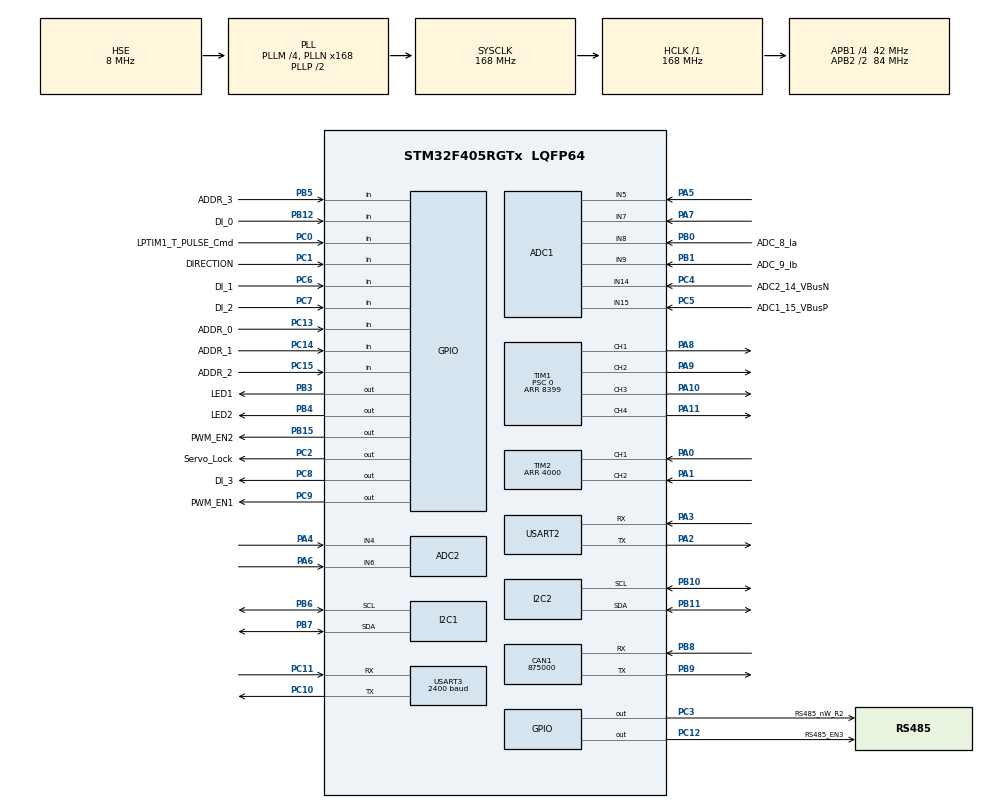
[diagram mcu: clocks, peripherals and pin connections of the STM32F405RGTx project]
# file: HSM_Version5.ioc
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ADC1.Channel-0\#ChannelRegularConversion=ADC_CHANNEL_8
ADC1.Channel-2\#ChannelRegularConversion=ADC_CHANNEL_9
ADC1.ClockPrescaler=ADC_CLOCK_SYNC_PCLK_DIV4
ADC1.ContinuousConvMode=DISABLE
ADC1.EOCSelection=ADC_EOC_SEQ_CONV
ADC1.InjNumberOfConversion=0
ADC1.NbrOfConversion=2
ADC1.NbrOfConversionFlag=1
ADC1.Rank-0\#ChannelRegularConversion=1
ADC1.Rank-2\#ChannelRegularConversion=2
ADC1.SamplingTime-0\#ChannelRegularConversion=ADC_SAMPLETIME_3CYCLES
ADC1.SamplingTime-2\#ChannelRegularConversion=ADC_SAMPLETIME_3CYCLES
ADC1.ScanConvMode=ENABLE
ADC1.master=1
ADC2.Channel-0\#ChannelRegularConversion=ADC_CHANNEL_6
ADC2.ClockPrescaler=ADC_CLOCK_SYNC_PCLK_DIV4
ADC2.NbrOfConversionFlag=1
ADC2.Rank-0\#ChannelRegularConversion=1
ADC2.SamplingTime-0\#ChannelRegularConversion=ADC_SAMPLETIME_3CYCLES
CAN1.BS1=CAN_BS1_1TQ
CAN1.BS2=CAN_BS2_1TQ
CAN1.CalculateBaudRate=875000
CAN1.CalculateTimeBit=1142
CAN1.CalculateTimeQuantum=380.95238095238096
Dma.ADC1.0.Direction=DMA_PERIPH_TO_MEMORY
Dma.ADC1.0.FIFOMode=DMA_FIFOMODE_DISABLE
Dma.ADC1.0.Instance=DMA2_Stream0
Dma.ADC1.0.MemDataAlignment=DMA_MDATAALIGN_HALFWORD
Dma.ADC1.0.MemInc=DMA_MINC_ENABLE
Dma.ADC1.0.Mode=DMA_NORMAL
Dma.ADC1.0.PeriphDataAlignment=DMA_PDATAALIGN_HALFWORD
Dma.ADC1.0.PeriphInc=DMA_PINC_DISABLE
Dma.ADC1.0.Priority=DMA_PRIORITY_VERY_HIGH
Dma.Request0=ADC1
Mcu.Family=STM32F4
Mcu.Name=STM32F405RGTx
Mcu.Package=LQFP64
NVIC.DMA2_Stream0_IRQn=true\:0\:0\:false\:false\:true\:false\:true\:true
NVIC.PriorityGroup=NVIC_PRIORITYGROUP_4
NVIC.TIM1_UP_TIM10_IRQn=true\:1\:0\:true\:false\:true\:true\:true\:true
NVIC.TIM3_IRQn=true\:2\:0\:true\:false\:true\:true\:true\:true
PA0-WKUP.Signal=S_TIM2_CH1_ETR
PA1.Signal=S_TIM2_CH2
PA10.Signal=S_TIM1_CH3
PA11.Signal=S_TIM1_CH4
PA13.Mode=Serial_Wire
PA13.Signal=SYS_JTMS-SWDIO
PA14.Mode=Serial_Wire
PA14.Signal=SYS_JTCK-SWCLK
PA2.Mode=Asynchronous
PA2.Signal=USART2_TX
PA3.Mode=Asynchronous
PA3.Signal=USART2_RX
PA4.Signal=ADCx_IN4
PA5.Signal=ADCx_IN5
PA6.Signal=ADCx_IN6
PA7.Signal=ADCx_IN7
PA8.Signal=S_TIM1_CH1
PA9.Signal=S_TIM1_CH2
PB0.GPIO_Label=ADC_8_Ia
PB0.Signal=ADCx_IN8
PB1.GPIO_Label=ADC_9_Ib
PB1.Signal=ADCx_IN9
PB10.Mode=I2C
PB10.Signal=I2C2_SCL
PB11.Mode=I2C
PB11.Signal=I2C2_SDA
PB12.GPIO_Label=DI_0
PB12.GPIO_PuPd=GPIO_NOPULL
PB12.Signal=GPIO_Input
PB15.GPIO_Label=PWM_EN2
PB15.Signal=GPIO_Output
PB3.GPIO_Label=LED1
PB3.Signal=GPIO_Output
PB4.GPIO_Label=LED2
PB4.Signal=GPIO_Output
PB5.GPIO_Label=ADDR_3
PB5.Signal=GPIO_Input
PB6.Mode=I2C
PB6.Signal=I2C1_SCL
PB7.Mode=I2C
PB7.Signal=I2C1_SDA
PB8.Mode=CAN_Activate
PB8.Signal=CAN1_RX
PB9.Mode=CAN_Activate
PB9.Signal=CAN1_TX
PC0.GPIO_Label=LPTIM1_T_PULSE_Cmd
PC0.Signal=GPIO_Input
PC1.GPIO_Label=DIRECTION
PC1.Signal=GPIO_Input
PC10.Mode=Asynchronous
PC10.Signal=USART3_TX
PC11.Mode=Asynchronous
PC11.Signal=USART3_RX
PC12.GPIO_Label=RS485_EN3
PC12.Signal=GPIO_Output
PC13-ANTI_TAMP.GPIO_Label=ADDR_0
PC13-ANTI_TAMP.GPIO_PuPd=GPIO_PULLUP
PC13-ANTI_TAMP.Signal=GPIO_Input
PC14-OSC32_IN.GPIO_Label=ADDR_1
PC14-OSC32_IN.GPIO_PuPd=GPIO_PULLUP
PC14-OSC32_IN.Signal=GPIO_Input
PC15-OSC32_OUT.GPIO_Label=ADDR_2
PC15-OSC32_OUT.Signal=GPIO_Input
PC2.GPIO_Label=Servo_Lock
PC2.Signal=GPIO_Output
PC3.GPIO_Label=RS485_nW_R2
PC3.Signal=GPIO_Output
PC4.GPIO_Label=ADC2_14_VBusN
PC4.Signal=ADCx_IN14
PC5.GPIO_Label=ADC1_15_VBusP
PC5.Signal=ADCx_IN15
PC6.GPIO_Label=DI_1
PC6.GPIO_PuPd=GPIO_NOPULL
PC6.Signal=GPIO_Input
PC7.GPIO_Label=DI_2
PC7.Signal=GPIO_Input
PC8.GPIO_Label=DI_3
PC8.Signal=GPIO_Output
PC9.GPIO_Label=PWM_EN1
PC9.Signal=GPIO_Output
PH0-OSC_IN.Mode=HSE-External-Oscillator
PH0-OSC_IN.Signal=RCC_OSC_IN
PH1-OSC_OUT.Mode=HSE-External-Oscillator
PH1-OSC_OUT.Signal=RCC_OSC_OUT
ProjectManager.HeapSize=0x200
ProjectManager.StackSize=0x400
ProjectManager.TargetToolchain=MDK-ARM V5.32
RCC.48MHZClocksFreq_Value=84000000
RCC.AHBFreq_Value=168000000
RCC.APB1CLKDivider=RCC_HCLK_DIV4
RCC.APB1Freq_Value=42000000
RCC.APB1TimFreq_Value=84000000
RCC.APB2CLKDivider=RCC_HCLK_DIV2
RCC.APB2Freq_Value=84000000
RCC.APB2TimFreq_Value=168000000
RCC.CortexFreq_Value=168000000
RCC.HCLKFreq_Value=168000000
RCC.HSE_VALUE=8000000
RCC.HSI_VALUE=16000000
RCC.LSE_VALUE=32768
RCC.PLLM=4
RCC.PLLN=168
RCC.PLLSourceVirtual=RCC_PLLSOURCE_HSE
RCC.SYSCLKFreq_VALUE=168000000
RCC.SYSCLKSource=RCC_SYSCLKSOURCE_PLLCLK
RCC.VCOOutputFreq_Value=336000000
SH.ADCx_IN14.0=ADC1_IN14,IN14
SH.ADCx_IN15.0=ADC1_IN15,IN15
SH.ADCx_IN4.0=ADC2_IN4,IN4
SH.ADCx_IN5.0=ADC1_IN5,IN5
SH.ADCx_IN6.0=ADC2_IN6,IN6
SH.ADCx_IN7.0=ADC1_IN7,IN7
SH.ADCx_IN8.0=ADC1_IN8,IN8
SH.ADCx_IN9.0=ADC1_IN9,IN9
SH.S_TIM1_CH1.0=TIM1_CH1,PWM Generation1 CH1
SH.S_TIM1_CH2.0=TIM1_CH2,PWM Generation2 CH2
SH.S_TIM1_CH3.0=TIM1_CH3,PWM Generation3 CH3
SH.S_TIM1_CH4.0=TIM1_CH4,PWM Generation4 CH4
SH.S_TIM2_CH1_ETR.0=TIM2_CH1,Encoder_Interface
SH.S_TIM2_CH2.0=TIM2_CH2,Encoder_Interface
TIM1.AutoReloadPreload=TIM_AUTORELOAD_PRELOAD_ENABLE
TIM1.Channel-PWM\ Generation1\ CH1=TIM_CHANNEL_1
TIM1.Channel-PWM\ Generation2\ CH2=TIM_CHANNEL_2
TIM1.Channel-PWM\ Generation3\ CH3=TIM_CHANNEL_3
TIM1.Channel-PWM\ Generation4\ CH4=TIM_CHANNEL_4
TIM1.CounterMode=TIM_COUNTERMODE_UP
TIM1.Period=8399
TIM1.Prescaler=0
TIM1.RepetitionCounter=0
TIM2.EncoderMode=TIM_ENCODERMODE_TI12
TIM2.IC1Filter=10
TIM2.IC2Filter=10
TIM2.Period=4000
TIM3.Period=83
TIM3.Prescaler=0
TIM5.Prescaler=83
USART2.VirtualMode=VM_ASYNC
USART3.BaudRate=2400
USART3.VirtualMode=VM_ASYNC
VP_TIM1_VS_ClockSourceINT.Mode=Internal
VP_TIM3_VS_ClockSourceINT.Mode=Internal
VP_TIM5_VS_ClockSourceINT.Mode=Internal
board=custom

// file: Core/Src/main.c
/* USER CODE BEGIN Header */
/**
  ******************************************************************************
  * @file           : main.c
  * @brief          : Main program body
  ******************************************************************************
  * @attention
  *
  * Copyright (c) 2023 STMicroelectronics.
  * All rights reserved.
  *
  * This software is licensed under terms that can be found in the LICENSE file
  * in the root directory of this software component.
  * If no LICENSE file comes with this software, it is provided AS-IS.
  *
  ******************************************************************************
  */
/* USER CODE END Header */
#include "main.h"
#include <math.h>

ADC_HandleTypeDef hadc1;
ADC_HandleTypeDef hadc2;
DMA_HandleTypeDef hdma_adc1;

CAN_HandleTypeDef hcan1;

I2C_HandleTypeDef hi2c1;
I2C_HandleTypeDef hi2c2;

TIM_HandleTypeDef htim1;
TIM_HandleTypeDef htim2;
TIM_HandleTypeDef htim3;
TIM_HandleTypeDef htim5;

UART_HandleTypeDef huart2;
UART_HandleTypeDef huart3;

void SystemClock_Config(void);
static void MX_GPIO_Init(void);
static void MX_DMA_Init(void);
static void MX_ADC1_Init(void);
static void MX_ADC2_Init(void);
static void MX_CAN1_Init(void);
static void MX_I2C1_Init(void);
static void MX_I2C2_Init(void);
static void MX_TIM1_Init(void);
static void MX_TIM2_Init(void);
static void MX_USART3_UART_Init(void);
static void MX_TIM3_Init(void);
static void MX_TIM5_Init(void);
static void MX_USART2_UART_Init(void);

/* USER CODE BEGIN 0 */
		HSM hsm_var; 							// hybrid stepper motor variable
		StateMachine mState_var;		// state of machine

		ENCODER_OBJECT encoder_var, theta_var;
		PI_OBJECT PI_Id_var, PI_Iq_var, PI_speed_var, P_position_var;
		ADC_OBJECT adc_var;

		FLAG flag_var;
		CONTROL_OBJECT control_var;
		LPF LPF_speed_var, LPF_current_var, LPF_voltage_var;
		LPF LPF_Ia, LPF_Ib;
		LPF LPF_rpm_est;
		UART uart_var;
		RAMP ramp_rpm_var;

		SMC SMC_var;
		LPF LPF_EMFa, LPF_EMFb;
		SVPWM svpwm_var;

			double ts_rpm = 5e-3;

		void HAL_TIM_PeriodElapsedCallback(TIM_HandleTypeDef *htim)
		{
			/* Prevent unused argument(s) compilation warning */
			UNUSED(htim);
			/*USER CODE*/

				if(htim->Instance == htim1.Instance)
				{
					if(mState_var.mSTATE == mRUN && mState_var.mCONTROL_MODE == SMC_MODE)
					{
						flag_var.flag_50us_5ms++;
						if(flag_var.flag_50us_5ms >= 100)  // every5ms
						{
							flag_var.flag_50us_5ms = 0;
							CAL_SPEED(&encoder_var);
							Est_Speed(&SMC_var, 70);

							if(SMC_var.flag_trans == 1){

								SMC_var.Kps = 0.9f*6.0f/70.0f;
								//SMC_var.Kps = 0.6f*6.0f/140.0f;
								SMC_var.Tis = 0.0008f;

								//if(fabs((float)(encoder_var.rpm_fb)) >= 95){
								if(fabs((float)(SMC_var.rpm_fb_est)) >= 80){
									LPF_Init(&LPF_EMFa, 80, 50e-6);
									LPF_Init(&LPF_EMFb, 80, 50e-6);
									//if(fabs((float)(encoder_var.rpm_fb)) >= 110){
									if(fabs((float)(SMC_var.rpm_fb_est)) >= 105){
										LPF_Init(&LPF_EMFa, 100, 50e-6);
										LPF_Init(&LPF_EMFb, 100, 50e-6);
										SMC_var.Kps = 0.5f*6.0f/70.0f;
										SMC_var.Tis = 0.0015f;
									}
									if(fabs((float)(SMC_var.rpm_fb_est)) >= 130){
										LPF_Init(&LPF_EMFa, 200, 50e-6);
										LPF_Init(&LPF_EMFb, 200, 50e-6);

									}
									if(fabs((float)(SMC_var.rpm_fb_est)) >= 140){
										LPF_Init(&LPF_EMFa, 250, 50e-6);
										LPF_Init(&LPF_EMFb, 250, 50e-6);

									}
								}

								SMC_var.Iq_ref = Speed_SMC_Loop(&SMC_var, 100);
							}
						}
					}

					flag_var.flag_50us++;
					//if(flag_var.flag_50us >= 4)
							CAL_CURRENT(&adc_var);

					STATE_MACHINE_HANDLE();

					//flag_var.cnt_s++;
//					if(flag_var.cnt_s < 40000){
//						flag_var.cnt_s++;
//						flag_var.second = 0;
//					}
//					else
//						flag_var.second = 1;
//
//					if(flag_var.second == 1)
//					{
//						flag_var.cnt_data++;
//						if(flag_var.cnt_data >= 3)
//						{
//							SAVE_DATA(GET_C_DATA);
//							flag_var.cnt_data = 0;
//						}
//					}

					//flag_var.flag_50us_1ms++;
//					if(flag_var.flag_50us_1ms >= 6)
//					{
//						flag_var.flag_50us_1ms = 0;
//						SAVE_DATA(GET_C_DATA);
//					}

//					if(flag_var.flag_1ms < 30000)
//						flag_var.flag_1ms++;
//					else
//						mState_var.mCONTROL_MODE = CLOSE_LOOP_SPD;

//					if(flag_var.flag_1ms < 65500)
//						flag_var.flag_1ms++;
//					else
//						SAVE_DATA(GET_C_DATA);
				}

		}

/* USER CODE END 0 */

int main(void)
{

  /* MCU Configuration--------------------------------------------------------*/

  /* Reset of all peripherals, Initializes the Flash interface and the Systick. */
  HAL_Init();

  /* Configure the system clock */
  SystemClock_Config();

  /* Initialize all configured peripherals */
  MX_GPIO_Init();
  MX_DMA_Init();
  MX_ADC1_Init();
  MX_ADC2_Init();
  MX_CAN1_Init();
  MX_I2C1_Init();
  MX_I2C2_Init();
  MX_TIM1_Init();
  MX_TIM2_Init();
  MX_USART3_UART_Init();
  MX_TIM3_Init();
  MX_TIM5_Init();
  MX_USART2_UART_Init();
  /* USER CODE BEGIN 2 */
			HAL_GPIO_WritePin(LED1_GPIO_Port, LED1_Pin, GPIO_PIN_SET);
			HAL_GPIO_WritePin(LED2_GPIO_Port, LED2_Pin, GPIO_PIN_SET);
			Motor_Disable();
		// BAT CHE DO PHAT XUNG PWM 2 KENH
			HAL_TIM_PWM_Start(&htim1, TIM_CHANNEL_1);
			HAL_TIM_PWM_Start(&htim1, TIM_CHANNEL_2);
			HAL_TIM_PWM_Start(&htim1, TIM_CHANNEL_3);
			HAL_TIM_PWM_Start(&htim1, TIM_CHANNEL_4);
		//Start ADC
			HAL_ADC_Start(&hadc1);
			ADC_Init(&adc_var);

		// Config Timer
			HAL_TIM_Base_Start_IT(&htim1); 			// PWM & control loop
			//HAL_TIM_Base_Start_IT(&htim3);
			HAL_TIM_Base_Start(&htim5); 		 		//	counter timer - delay timer (not used yet)
			HAL_TIM_Encoder_Start(&htim2, TIM_CHANNEL_ALL);			// Encoder on htim 2

		//Init Function
			MOTOR_Init(&hsm_var);
			FLAG_Init(&flag_var);

			ENCODER_Init(&encoder_var, 1000, 4, ts_rpm);			// use for cal the speed
			ENCODER_Init(&theta_var, 1000, 4, NULL);		// use for count the received pulse, then cal the theta mechanical (rad)

			//Est_Init(&SMC_var);
			SMC_Init(&SMC_var);

			CONTROLLER_Init(&control_var, 50e-6);			/*CONTROLLER_Init(control var, Ts);*/

			LPF_Init(&LPF_current_var, 2000, 50e-6);
			LPF_Init(&LPF_Ia, 2000, 50e-6);
			LPF_Init(&LPF_Ib, 2000, 50e-6);

			LPF_Init(&LPF_speed_var, (uint16_t)(1/(ts_rpm*120)), ts_rpm);
			LPF_Init(&LPF_rpm_est, (uint16_t)(1/(ts_rpm*120)), ts_rpm);
			LPF_Init(&LPF_voltage_var, 2000, 50e-6);

			LPF_Init(&LPF_EMFa, 50, 50e-6);
			LPF_Init(&LPF_EMFb, 50, 50e-6);

			PI_CURRENT_Init(&PI_Id_var, 50e-6);
			PI_CURRENT_Init(&PI_Iq_var, 50e-6);
			PI_SPEED_Init(&PI_speed_var, ts_rpm);

			UART_Init(&uart_var);
			RAMP_Init(&ramp_rpm_var, 1, 1, -100, 100, ts_rpm);

			STATE_MACHINE_Init(OPENLOOP);

			//STATE_MACHINE_Init(CLOSE_LOOP_I);

			//STATE_MACHINE_Init(CLOSE_LOOP_SPD);

			STATE_MACHINE_Init(SMC_MODE);

			Motor_Enable();
  /* USER CODE END 2 */

  /* Infinite loop */
  while (1)
  {

    /* USER CODE BEGIN 3 */
//		HAL_GPIO_TogglePin(LED1_GPIO_Port, LED1_Pin);
//		HAL_GPIO_TogglePin(LED2_GPIO_Port, LED2_Pin);
//		HAL_Delay(100);

		SEND_DATA();

		//run_fullstep(9, 9, 10);
		//fullstep(24,-24);
  }
  /* USER CODE END 3 */
}

void SystemClock_Config(void)
{
  RCC_OscInitTypeDef RCC_OscInitStruct = {0};
  RCC_ClkInitTypeDef RCC_ClkInitStruct = {0};

  /** Configure the main internal regulator output voltage
  */
  __HAL_RCC_PWR_CLK_ENABLE();
  __HAL_PWR_VOLTAGESCALING_CONFIG(PWR_REGULATOR_VOLTAGE_SCALE1);

  /** Initializes the RCC Oscillators according to the specified parameters
  * in the RCC_OscInitTypeDef structure.
  */
  RCC_OscInitStruct.OscillatorType = RCC_OSCILLATORTYPE_HSE;
  RCC_OscInitStruct.HSEState = RCC_HSE_ON;
  RCC_OscInitStruct.PLL.PLLState = RCC_PLL_ON;
  RCC_OscInitStruct.PLL.PLLSource = RCC_PLLSOURCE_HSE;
  RCC_OscInitStruct.PLL.PLLM = 4;
  RCC_OscInitStruct.PLL.PLLN = 168;
  RCC_OscInitStruct.PLL.PLLP = RCC_PLLP_DIV2;
  RCC_OscInitStruct.PLL.PLLQ = 4;
  if (HAL_RCC_OscConfig(&RCC_OscInitStruct) != HAL_OK)
  {
    Error_Handler();
  }

  /** Initializes the CPU, AHB and APB buses clocks
  */
  RCC_ClkInitStruct.ClockType = RCC_CLOCKTYPE_HCLK|RCC_CLOCKTYPE_SYSCLK
                              |RCC_CLOCKTYPE_PCLK1|RCC_CLOCKTYPE_PCLK2;
  RCC_ClkInitStruct.SYSCLKSource = RCC_SYSCLKSOURCE_PLLCLK;
  RCC_ClkInitStruct.AHBCLKDivider = RCC_SYSCLK_DIV1;
  RCC_ClkInitStruct.APB1CLKDivider = RCC_HCLK_DIV4;
  RCC_ClkInitStruct.APB2CLKDivider = RCC_HCLK_DIV2;

  if (HAL_RCC_ClockConfig(&RCC_ClkInitStruct, FLASH_LATENCY_5) != HAL_OK)
  {
    Error_Handler();
  }
}

static void MX_ADC1_Init(void)
{

  ADC_ChannelConfTypeDef sConfig = {0};

  /** Configure the global features of the ADC (Clock, Resolution, Data Alignment and number of conversion)
  */
  hadc1.Instance = ADC1;
  hadc1.Init.ClockPrescaler = ADC_CLOCK_SYNC_PCLK_DIV4;
  hadc1.Init.Resolution = ADC_RESOLUTION_12B;
  hadc1.Init.ScanConvMode = ENABLE;
  hadc1.Init.ContinuousConvMode = DISABLE;
  hadc1.Init.DiscontinuousConvMode = DISABLE;
  hadc1.Init.ExternalTrigConvEdge = ADC_EXTERNALTRIGCONVEDGE_NONE;
  hadc1.Init.ExternalTrigConv = ADC_SOFTWARE_START;
  hadc1.Init.DataAlign = ADC_DATAALIGN_RIGHT;
  hadc1.Init.NbrOfConversion = 2;
  hadc1.Init.DMAContinuousRequests = DISABLE;
  hadc1.Init.EOCSelection = ADC_EOC_SEQ_CONV;
  if (HAL_ADC_Init(&hadc1) != HAL_OK)
  {
    Error_Handler();
  }

  /** Configure for the selected ADC regular channel its corresponding rank in the sequencer and its sample time.
  */
  sConfig.Channel = ADC_CHANNEL_8;
  sConfig.Rank = 1;
  sConfig.SamplingTime = ADC_SAMPLETIME_3CYCLES;
  if (HAL_ADC_ConfigChannel(&hadc1, &sConfig) != HAL_OK)
  {
    Error_Handler();
  }

  /** Configure for the selected ADC regular channel its corresponding rank in the sequencer and its sample time.
  */
  sConfig.Channel = ADC_CHANNEL_9;
  sConfig.Rank = 2;
  if (HAL_ADC_ConfigChannel(&hadc1, &sConfig) != HAL_OK)
  {
    Error_Handler();
  }

}

static void MX_ADC2_Init(void)
{

  ADC_ChannelConfTypeDef sConfig = {0};

  /** Configure the global features of the ADC (Clock, Resolution, Data Alignment and number of conversion)
  */
  hadc2.Instance = ADC2;
  hadc2.Init.ClockPrescaler = ADC_CLOCK_SYNC_PCLK_DIV4;
  hadc2.Init.Resolution = ADC_RESOLUTION_12B;
  hadc2.Init.ScanConvMode = DISABLE;
  hadc2.Init.ContinuousConvMode = DISABLE;
  hadc2.Init.DiscontinuousConvMode = DISABLE;
  hadc2.Init.ExternalTrigConvEdge = ADC_EXTERNALTRIGCONVEDGE_NONE;
  hadc2.Init.ExternalTrigConv = ADC_SOFTWARE_START;
  hadc2.Init.DataAlign = ADC_DATAALIGN_RIGHT;
  hadc2.Init.NbrOfConversion = 1;
  hadc2.Init.DMAContinuousRequests = DISABLE;
  hadc2.Init.EOCSelection = ADC_EOC_SINGLE_CONV;
  if (HAL_ADC_Init(&hadc2) != HAL_OK)
  {
    Error_Handler();
  }

  /** Configure for the selected ADC regular channel its corresponding rank in the sequencer and its sample time.
  */
  sConfig.Channel = ADC_CHANNEL_6;
  sConfig.Rank = 1;
  sConfig.SamplingTime = ADC_SAMPLETIME_3CYCLES;
  if (HAL_ADC_ConfigChannel(&hadc2, &sConfig) != HAL_OK)
  {
    Error_Handler();
  }

}

static void MX_CAN1_Init(void)
{

  hcan1.Instance = CAN1;
  hcan1.Init.Prescaler = 16;
  hcan1.Init.Mode = CAN_MODE_NORMAL;
  hcan1.Init.SyncJumpWidth = CAN_SJW_1TQ;
  hcan1.Init.TimeSeg1 = CAN_BS1_1TQ;
  hcan1.Init.TimeSeg2 = CAN_BS2_1TQ;
  hcan1.Init.TimeTriggeredMode = DISABLE;
  hcan1.Init.AutoBusOff = DISABLE;
  hcan1.Init.AutoWakeUp = DISABLE;
  hcan1.Init.AutoRetransmission = DISABLE;
  hcan1.Init.ReceiveFifoLocked = DISABLE;
  hcan1.Init.TransmitFifoPriority = DISABLE;
  if (HAL_CAN_Init(&hcan1) != HAL_OK)
  {
    Error_Handler();
  }

}

static void MX_I2C1_Init(void)
{

  hi2c1.Instance = I2C1;
  hi2c1.Init.ClockSpeed = 100000;
  hi2c1.Init.DutyCycle = I2C_DUTYCYCLE_2;
  hi2c1.Init.OwnAddress1 = 0;
  hi2c1.Init.AddressingMode = I2C_ADDRESSINGMODE_7BIT;
  hi2c1.Init.DualAddressMode = I2C_DUALADDRESS_DISABLE;
  hi2c1.Init.OwnAddress2 = 0;
  hi2c1.Init.GeneralCallMode = I2C_GENERALCALL_DISABLE;
  hi2c1.Init.NoStretchMode = I2C_NOSTRETCH_DISABLE;
  if (HAL_I2C_Init(&hi2c1) != HAL_OK)
  {
    Error_Handler();
  }

}

static void MX_I2C2_Init(void)
{

  hi2c2.Instance = I2C2;
  hi2c2.Init.ClockSpeed = 100000;
  hi2c2.Init.DutyCycle = I2C_DUTYCYCLE_2;
  hi2c2.Init.OwnAddress1 = 0;
  hi2c2.Init.AddressingMode = I2C_ADDRESSINGMODE_7BIT;
  hi2c2.Init.DualAddressMode = I2C_DUALADDRESS_DISABLE;
  hi2c2.Init.OwnAddress2 = 0;
  hi2c2.Init.GeneralCallMode = I2C_GENERALCALL_DISABLE;
  hi2c2.Init.NoStretchMode = I2C_NOSTRETCH_DISABLE;
  if (HAL_I2C_Init(&hi2c2) != HAL_OK)
  {
    Error_Handler();
  }

}

static void MX_TIM1_Init(void)
{

  TIM_ClockConfigTypeDef sClockSourceConfig = {0};
  TIM_MasterConfigTypeDef sMasterConfig = {0};
  TIM_OC_InitTypeDef sConfigOC = {0};
  TIM_BreakDeadTimeConfigTypeDef sBreakDeadTimeConfig = {0};

  htim1.Instance = TIM1;
  htim1.Init.Prescaler = 0;
  htim1.Init.CounterMode = TIM_COUNTERMODE_UP;
  htim1.Init.Period = 8399;
  htim1.Init.ClockDivision = TIM_CLOCKDIVISION_DIV1;
  htim1.Init.RepetitionCounter = 0;
  htim1.Init.AutoReloadPreload = TIM_AUTORELOAD_PRELOAD_ENABLE;
  if (HAL_TIM_Base_Init(&htim1) != HAL_OK)
  {
    Error_Handler();
  }
  sClockSourceConfig.ClockSource = TIM_CLOCKSOURCE_INTERNAL;
  if (HAL_TIM_ConfigClockSource(&htim1, &sClockSourceConfig) != HAL_OK)
  {
    Error_Handler();
  }
  if (HAL_TIM_PWM_Init(&htim1) != HAL_OK)
  {
    Error_Handler();
  }
  sMasterConfig.MasterOutputTrigger = TIM_TRGO_RESET;
  sMasterConfig.MasterSlaveMode = TIM_MASTERSLAVEMODE_DISABLE;
  if (HAL_TIMEx_MasterConfigSynchronization(&htim1, &sMasterConfig) != HAL_OK)
  {
    Error_Handler();
  }
  sConfigOC.OCMode = TIM_OCMODE_PWM1;
  sConfigOC.Pulse = 0;
  sConfigOC.OCPolarity = TIM_OCPOLARITY_HIGH;
  sConfigOC.OCNPolarity = TIM_OCNPOLARITY_HIGH;
  sConfigOC.OCFastMode = TIM_OCFAST_DISABLE;
  sConfigOC.OCIdleState = TIM_OCIDLESTATE_RESET;
  sConfigOC.OCNIdleState = TIM_OCNIDLESTATE_RESET;
  if (HAL_TIM_PWM_ConfigChannel(&htim1, &sConfigOC, TIM_CHANNEL_1) != HAL_OK)
  {
    Error_Handler();
  }
  if (HAL_TIM_PWM_ConfigChannel(&htim1, &sConfigOC, TIM_CHANNEL_2) != HAL_OK)
  {
    Error_Handler();
  }
  if (HAL_TIM_PWM_ConfigChannel(&htim1, &sConfigOC, TIM_CHANNEL_3) != HAL_OK)
  {
    Error_Handler();
  }
  if (HAL_TIM_PWM_ConfigChannel(&htim1, &sConfigOC, TIM_CHANNEL_4) != HAL_OK)
  {
    Error_Handler();
  }
  sBreakDeadTimeConfig.OffStateRunMode = TIM_OSSR_DISABLE;
  sBreakDeadTimeConfig.OffStateIDLEMode = TIM_OSSI_DISABLE;
  sBreakDeadTimeConfig.LockLevel = TIM_LOCKLEVEL_OFF;
  sBreakDeadTimeConfig.DeadTime = 0;
  sBreakDeadTimeConfig.BreakState = TIM_BREAK_DISABLE;
  sBreakDeadTimeConfig.BreakPolarity = TIM_BREAKPOLARITY_HIGH;
  sBreakDeadTimeConfig.AutomaticOutput = TIM_AUTOMATICOUTPUT_DISABLE;
  if (HAL_TIMEx_ConfigBreakDeadTime(&htim1, &sBreakDeadTimeConfig) != HAL_OK)
  {
    Error_Handler();
  }
  HAL_TIM_MspPostInit(&htim1);

}

static void MX_TIM2_Init(void)
{

  TIM_Encoder_InitTypeDef sConfig = {0};
  TIM_MasterConfigTypeDef sMasterConfig = {0};

  htim2.Instance = TIM2;
  htim2.Init.Prescaler = 0;
  htim2.Init.CounterMode = TIM_COUNTERMODE_UP;
  htim2.Init.Period = 4000;
  htim2.Init.ClockDivision = TIM_CLOCKDIVISION_DIV1;
  htim2.Init.AutoReloadPreload = TIM_AUTORELOAD_PRELOAD_DISABLE;
  sConfig.EncoderMode = TIM_ENCODERMODE_TI12;
  sConfig.IC1Polarity = TIM_ICPOLARITY_RISING;
  sConfig.IC1Selection = TIM_ICSELECTION_DIRECTTI;
  sConfig.IC1Prescaler = TIM_ICPSC_DIV1;
  sConfig.IC1Filter = 10;
  sConfig.IC2Polarity = TIM_ICPOLARITY_RISING;
  sConfig.IC2Selection = TIM_ICSELECTION_DIRECTTI;
  sConfig.IC2Prescaler = TIM_ICPSC_DIV1;
  sConfig.IC2Filter = 10;
  if (HAL_TIM_Encoder_Init(&htim2, &sConfig) != HAL_OK)
  {
    Error_Handler();
  }
  sMasterConfig.MasterOutputTrigger = TIM_TRGO_RESET;
  sMasterConfig.MasterSlaveMode = TIM_MASTERSLAVEMODE_DISABLE;
  if (HAL_TIMEx_MasterConfigSynchronization(&htim2, &sMasterConfig) != HAL_OK)
  {
    Error_Handler();
  }

}

static void MX_TIM3_Init(void)
{

  TIM_ClockConfigTypeDef sClockSourceConfig = {0};
  TIM_MasterConfigTypeDef sMasterConfig = {0};

  htim3.Instance = TIM3;
  htim3.Init.Prescaler = 0;
  htim3.Init.CounterMode = TIM_COUNTERMODE_UP;
  htim3.Init.Period = 83;
  htim3.Init.ClockDivision = TIM_CLOCKDIVISION_DIV1;
  htim3.Init.AutoReloadPreload = TIM_AUTORELOAD_PRELOAD_DISABLE;
  if (HAL_TIM_Base_Init(&htim3) != HAL_OK)
  {
    Error_Handler();
  }
  sClockSourceConfig.ClockSource = TIM_CLOCKSOURCE_INTERNAL;
  if (HAL_TIM_ConfigClockSource(&htim3, &sClockSourceConfig) != HAL_OK)
  {
    Error_Handler();
  }
  sMasterConfig.MasterOutputTrigger = TIM_TRGO_RESET;
  sMasterConfig.MasterSlaveMode = TIM_MASTERSLAVEMODE_DISABLE;
  if (HAL_TIMEx_MasterConfigSynchronization(&htim3, &sMasterConfig) != HAL_OK)
  {
    Error_Handler();
  }

}

static void MX_TIM5_Init(void)
{

  TIM_ClockConfigTypeDef sClockSourceConfig = {0};
  TIM_MasterConfigTypeDef sMasterConfig = {0};

  htim5.Instance = TIM5;
  htim5.Init.Prescaler = 83;
  htim5.Init.CounterMode = TIM_COUNTERMODE_UP;
  htim5.Init.Period = 4294967295;
  htim5.Init.ClockDivision = TIM_CLOCKDIVISION_DIV1;
  htim5.Init.AutoReloadPreload = TIM_AUTORELOAD_PRELOAD_DISABLE;
  if (HAL_TIM_Base_Init(&htim5) != HAL_OK)
  {
    Error_Handler();
  }
  sClockSourceConfig.ClockSource = TIM_CLOCKSOURCE_INTERNAL;
  if (HAL_TIM_ConfigClockSource(&htim5, &sClockSourceConfig) != HAL_OK)
  {
    Error_Handler();
  }
  sMasterConfig.MasterOutputTrigger = TIM_TRGO_RESET;
  sMasterConfig.MasterSlaveMode = TIM_MASTERSLAVEMODE_DISABLE;
  if (HAL_TIMEx_MasterConfigSynchronization(&htim5, &sMasterConfig) != HAL_OK)
  {
    Error_Handler();
  }

}

static void MX_USART2_UART_Init(void)
{

  huart2.Instance = USART2;
  huart2.Init.BaudRate = 115200;
  huart2.Init.WordLength = UART_WORDLENGTH_8B;
  huart2.Init.StopBits = UART_STOPBITS_1;
  huart2.Init.Parity = UART_PARITY_NONE;
  huart2.Init.Mode = UART_MODE_TX_RX;
  huart2.Init.HwFlowCtl = UART_HWCONTROL_NONE;
  huart2.Init.OverSampling = UART_OVERSAMPLING_16;
  if (HAL_UART_Init(&huart2) != HAL_OK)
  {
    Error_Handler();
  }

}

static void MX_USART3_UART_Init(void)
{

  huart3.Instance = USART3;
  huart3.Init.BaudRate = 4800;
  huart3.Init.WordLength = UART_WORDLENGTH_8B;
  huart3.Init.StopBits = UART_STOPBITS_1;
  huart3.Init.Parity = UART_PARITY_NONE;
  huart3.Init.Mode = UART_MODE_TX_RX;
  huart3.Init.HwFlowCtl = UART_HWCONTROL_NONE;
  huart3.Init.OverSampling = UART_OVERSAMPLING_16;
  if (HAL_UART_Init(&huart3) != HAL_OK)
  {
    Error_Handler();
  }

}

static void MX_DMA_Init(void)
{

  /* DMA controller clock enable */
  __HAL_RCC_DMA2_CLK_ENABLE();

  /* DMA interrupt init */
  /* DMA2_Stream0_IRQn interrupt configuration */
  HAL_NVIC_SetPriority(DMA2_Stream0_IRQn, 0, 0);
  HAL_NVIC_EnableIRQ(DMA2_Stream0_IRQn);

}

static void MX_GPIO_Init(void)
{
  GPIO_InitTypeDef GPIO_InitStruct = {0};

  /* GPIO Ports Clock Enable */
  __HAL_RCC_GPIOC_CLK_ENABLE();
  __HAL_RCC_GPIOH_CLK_ENABLE();
  __HAL_RCC_GPIOA_CLK_ENABLE();
  __HAL_RCC_GPIOB_CLK_ENABLE();

  /*Configure GPIO pin Output Level */
  HAL_GPIO_WritePin(GPIOC, Servo_Lock_Pin|RS485_nW_R2_Pin|DI_3_Pin|PWM_EN1_Pin
                          |RS485_EN3_Pin, GPIO_PIN_RESET);

  /*Configure GPIO pin Output Level */
  HAL_GPIO_WritePin(GPIOB, PWM_EN2_Pin|LED1_Pin|LED2_Pin, GPIO_PIN_RESET);

  /*Configure GPIO pins : ADDR_0_Pin ADDR_1_Pin */
  GPIO_InitStruct.Pin = ADDR_0_Pin|ADDR_1_Pin;
  GPIO_InitStruct.Mode = GPIO_MODE_INPUT;
  GPIO_InitStruct.Pull = GPIO_PULLUP;
  HAL_GPIO_Init(GPIOC, &GPIO_InitStruct);

  /*Configure GPIO pins : ADDR_2_Pin LPTIM1_T_PULSE_Cmd_Pin DIRECTION_Pin DI_1_Pin
                           DI_2_Pin */
  GPIO_InitStruct.Pin = ADDR_2_Pin|LPTIM1_T_PULSE_Cmd_Pin|DIRECTION_Pin|DI_1_Pin
                          |DI_2_Pin;
  GPIO_InitStruct.Mode = GPIO_MODE_INPUT;
  GPIO_InitStruct.Pull = GPIO_NOPULL;
  HAL_GPIO_Init(GPIOC, &GPIO_InitStruct);

  /*Configure GPIO pins : Servo_Lock_Pin RS485_nW_R2_Pin DI_3_Pin PWM_EN1_Pin
                           RS485_EN3_Pin */
  GPIO_InitStruct.Pin = Servo_Lock_Pin|RS485_nW_R2_Pin|DI_3_Pin|PWM_EN1_Pin
                          |RS485_EN3_Pin;
  GPIO_InitStruct.Mode = GPIO_MODE_OUTPUT_PP;
  GPIO_InitStruct.Pull = GPIO_NOPULL;
  GPIO_InitStruct.Speed = GPIO_SPEED_FREQ_LOW;
  HAL_GPIO_Init(GPIOC, &GPIO_InitStruct);

  /*Configure GPIO pins : DI_0_Pin ADDR_3_Pin */
  GPIO_InitStruct.Pin = DI_0_Pin|ADDR_3_Pin;
  GPIO_InitStruct.Mode = GPIO_MODE_INPUT;
  GPIO_InitStruct.Pull = GPIO_NOPULL;
  HAL_GPIO_Init(GPIOB, &GPIO_InitStruct);

  /*Configure GPIO pins : PWM_EN2_Pin LED1_Pin LED2_Pin */
  GPIO_InitStruct.Pin = PWM_EN2_Pin|LED1_Pin|LED2_Pin;
  GPIO_InitStruct.Mode = GPIO_MODE_OUTPUT_PP;
  GPIO_InitStruct.Pull = GPIO_NOPULL;
  GPIO_InitStruct.Speed = GPIO_SPEED_FREQ_LOW;
  HAL_GPIO_Init(GPIOB, &GPIO_InitStruct);

}

void Error_Handler(void)
{
  __disable_irq();
  while (1)
  {
  }
}
